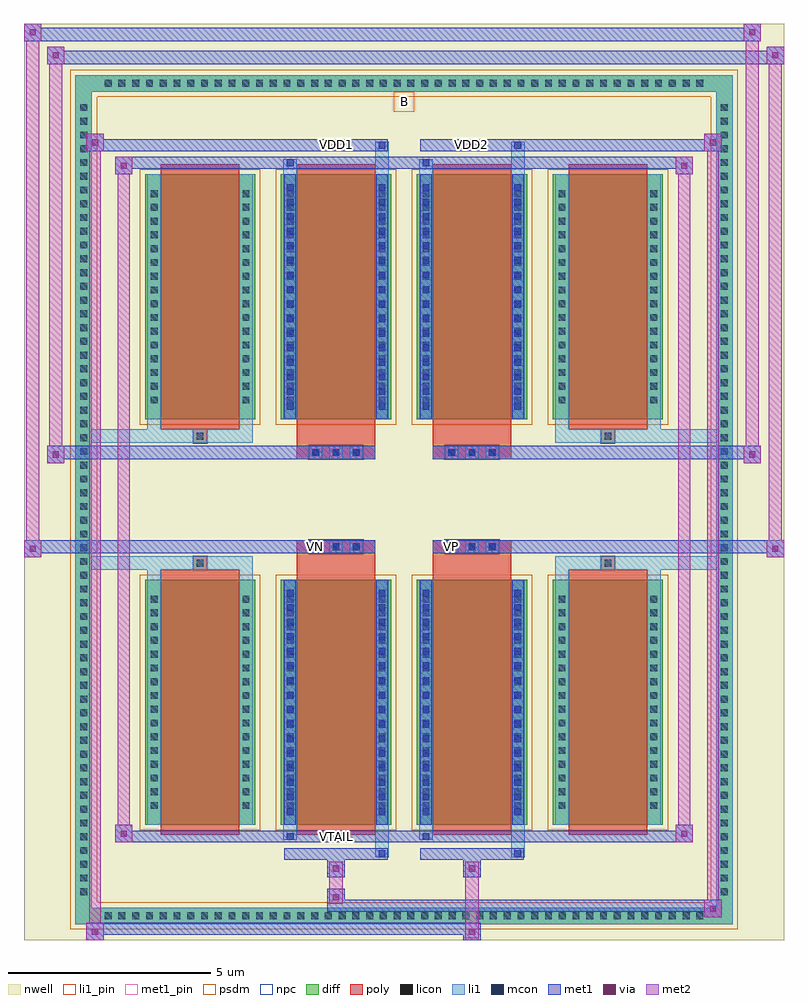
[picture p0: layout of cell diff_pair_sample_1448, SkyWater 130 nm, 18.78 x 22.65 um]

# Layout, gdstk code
import gdstk
lib = gdstk.Library(unit=1e-6, precision=5e-09)
def R(c, l, rs):  # rectangles x0, y0, x1, y1
    for r in rs: c.add(gdstk.rectangle(r[:2], r[2:], *l))
def A(c, l, x, y, w, h, nx, ny, dx, dy):  # array of equal rectangles
    R(c, l, [(x+i*dx, y+j*dy, x+i*dx+w, y+j*dy+h) for i in range(nx) for j in range(ny)])
def P(c, l, *ps):  # polygons
    for p in ps: c.add(gdstk.Polygon(p, *l))
nwell = (64, 20)
diff = (65, 20)
poly = (66, 20)
licon = (66, 44)
li1_pin = (67, 16)
li1 = (67, 20)
mcon = (67, 44)
met1_pin = (68, 16)
met1 = (68, 20)
via = (68, 44)
met2 = (69, 20)
psdm = (94, 20)
npc = (95, 20)

diff_pair_sample_1448 = lib.new_cell('diff_pair_sample_1448')
R(diff_pair_sample_1448, nwell, [(-9.39,-10.89,9.39,11.76), (-6.71,-9.08,-0.01,-0.8), (0.01,-9.08,6.71,-0.8), (-6.71,0.8,-0.01,9.08), (0.01,0.8,6.71,9.08)])
A(diff_pair_sample_1448, diff, -7.515, -10.49, 0.41, 0.41, 44, 2, 0.34, 20.57)
A(diff_pair_sample_1448, diff, -8.12, -9.895, 0.41, 0.41, 1, 58, 0, 0.34)
A(diff_pair_sample_1448, diff, 7.71, -9.895, 0.41, 0.41, 1, 58, 0, 0.34)
A(diff_pair_sample_1448, diff, -6.4, -8.035, 2.72, 6.05, 4, 2, 3.36, 10.02)
R(diff_pair_sample_1448, diff, [(-7.515,-10.49,7.515,-10.08), (-8.12,-9.895,-7.71,9.895), (7.71,-9.895,8.12,9.895), (-7.515,10.08,7.515,10.49)])
P(diff_pair_sample_1448, diff, [(8.12,10.49),(-8.12,10.49),(-8.12,-10.08),(-7.71,-10.08),(-7.71,10.08),(7.71,10.08),(7.71,-10.08),(-7.71,-10.08),(-8.12,-10.08),(-8.12,-10.49),(8.12,-10.49)])
A(diff_pair_sample_1448, poly, -6.01, -8.285, 1.94, 6.55, 4, 2, 3.36, 10.02)
A(diff_pair_sample_1448, poly, -2.345, -1.33, 0.33, 0.33, 3, 2, 0.5, 2.33)
A(diff_pair_sample_1448, poly, 1.015, -1.33, 0.33, 0.33, 3, 2, 0.5, 2.33)
R(diff_pair_sample_1448, poly, [(-5.205,-1.735,-4.875,-1.405), (-5.205,-1.735,-4.875,-1.405), (-2.65,-1.735,-0.71,-1.33), (0.71,-1.735,2.65,-1.33), (4.875,-1.735,5.205,-1.405), (4.875,-1.735,5.205,-1.405), (-2.65,-1.33,-0.71,-1), (0.71,-1.33,2.65,-1), (-2.65,1,-0.71,1.33), (0.71,1,2.65,1.33), (-2.65,1.33,-0.71,1.735), (0.71,1.33,2.65,1.735), (-5.205,1.405,-4.875,1.735), (-5.205,1.405,-4.875,1.735), (4.875,1.405,5.205,1.735), (4.875,1.405,5.205,1.735)])
A(diff_pair_sample_1448, licon, -7.395, -10.37, 0.17, 0.17, 44, 2, 0.34, 20.57)
A(diff_pair_sample_1448, licon, -8, -9.775, 0.17, 0.17, 1, 58, 0, 0.34)
A(diff_pair_sample_1448, licon, 7.83, -9.775, 0.17, 0.17, 1, 58, 0, 0.34)
A(diff_pair_sample_1448, licon, -6.26, -7.645, 0.17, 0.17, 1, 16, 0, 0.34)
A(diff_pair_sample_1448, licon, -3.99, -7.645, 0.17, 0.17, 1, 16, 0, 0.34)
A(diff_pair_sample_1448, licon, -2.9, -7.645, 0.17, 0.17, 1, 16, 0, 0.34)
A(diff_pair_sample_1448, licon, -0.63, -7.645, 0.17, 0.17, 1, 16, 0, 0.34)
A(diff_pair_sample_1448, licon, 0.46, -7.645, 0.17, 0.17, 1, 16, 0, 0.34)
A(diff_pair_sample_1448, licon, 2.73, -7.645, 0.17, 0.17, 1, 16, 0, 0.34)
A(diff_pair_sample_1448, licon, 3.82, -7.645, 0.17, 0.17, 1, 16, 0, 0.34)
A(diff_pair_sample_1448, licon, 6.09, -7.645, 0.17, 0.17, 1, 16, 0, 0.34)
A(diff_pair_sample_1448, licon, -2.265, -1.25, 0.17, 0.17, 3, 2, 0.5, 2.33)
A(diff_pair_sample_1448, licon, 1.095, -1.25, 0.17, 0.17, 3, 2, 0.5, 2.33)
A(diff_pair_sample_1448, licon, -6.26, 2.375, 0.17, 0.17, 1, 16, 0, 0.34)
A(diff_pair_sample_1448, licon, -3.99, 2.375, 0.17, 0.17, 1, 16, 0, 0.34)
A(diff_pair_sample_1448, licon, -2.9, 2.375, 0.17, 0.17, 1, 16, 0, 0.34)
A(diff_pair_sample_1448, licon, -0.63, 2.375, 0.17, 0.17, 1, 16, 0, 0.34)
A(diff_pair_sample_1448, licon, 0.46, 2.375, 0.17, 0.17, 1, 16, 0, 0.34)
A(diff_pair_sample_1448, licon, 2.73, 2.375, 0.17, 0.17, 1, 16, 0, 0.34)
A(diff_pair_sample_1448, licon, 3.82, 2.375, 0.17, 0.17, 1, 16, 0, 0.34)
A(diff_pair_sample_1448, licon, 6.09, 2.375, 0.17, 0.17, 1, 16, 0, 0.34)
R(diff_pair_sample_1448, licon, [(-5.125,-1.655,-4.955,-1.485), (4.955,-1.655,5.125,-1.485), (-5.125,1.485,-4.955,1.655), (4.955,1.485,5.125,1.655)])
R(diff_pair_sample_1448, li1_pin, [(-0.25,9.58,0.25,10.08)])
A(diff_pair_sample_1448, li1, -7.475, -10.45, 0.33, 0.33, 44, 2, 0.34, 20.57)
A(diff_pair_sample_1448, li1, -8.08, -9.855, 0.33, 0.33, 1, 58, 0, 0.34)
A(diff_pair_sample_1448, li1, 7.75, -9.855, 0.33, 0.33, 1, 58, 0, 0.34)
A(diff_pair_sample_1448, li1, -2.9, -7.795, 0.17, 0.17, 1, 16, 0, 0.36)
A(diff_pair_sample_1448, li1, -0.63, -7.795, 0.17, 0.17, 1, 16, 0, 0.36)
A(diff_pair_sample_1448, li1, 0.46, -7.795, 0.17, 0.17, 1, 16, 0, 0.36)
A(diff_pair_sample_1448, li1, 2.73, -7.795, 0.17, 0.17, 1, 16, 0, 0.36)
A(diff_pair_sample_1448, li1, -6.34, -7.725, 0.33, 0.33, 1, 16, 0, 0.34)
A(diff_pair_sample_1448, li1, -4.07, -7.725, 0.33, 0.33, 1, 16, 0, 0.34)
A(diff_pair_sample_1448, li1, -2.98, -7.725, 0.33, 0.33, 1, 16, 0, 0.34)
A(diff_pair_sample_1448, li1, -0.71, -7.725, 0.33, 0.33, 1, 16, 0, 0.34)
A(diff_pair_sample_1448, li1, 0.38, -7.725, 0.33, 0.33, 1, 16, 0, 0.34)
A(diff_pair_sample_1448, li1, 2.65, -7.725, 0.33, 0.33, 1, 16, 0, 0.34)
A(diff_pair_sample_1448, li1, 3.74, -7.725, 0.33, 0.33, 1, 16, 0, 0.34)
A(diff_pair_sample_1448, li1, 6.01, -7.725, 0.33, 0.33, 1, 16, 0, 0.34)
A(diff_pair_sample_1448, li1, -2.345, -1.33, 0.33, 0.33, 3, 2, 0.5, 2.33)
A(diff_pair_sample_1448, li1, 1.015, -1.33, 0.33, 0.33, 3, 2, 0.5, 2.33)
A(diff_pair_sample_1448, li1, -2.9, 2.225, 0.17, 0.17, 1, 16, 0, 0.36)
A(diff_pair_sample_1448, li1, -0.63, 2.225, 0.17, 0.17, 1, 16, 0, 0.36)
A(diff_pair_sample_1448, li1, 0.46, 2.225, 0.17, 0.17, 1, 16, 0, 0.36)
A(diff_pair_sample_1448, li1, 2.73, 2.225, 0.17, 0.17, 1, 16, 0, 0.36)
A(diff_pair_sample_1448, li1, -6.34, 2.295, 0.33, 0.33, 1, 16, 0, 0.34)
A(diff_pair_sample_1448, li1, -4.07, 2.295, 0.33, 0.33, 1, 16, 0, 0.34)
A(diff_pair_sample_1448, li1, -2.98, 2.295, 0.33, 0.33, 1, 16, 0, 0.34)
A(diff_pair_sample_1448, li1, -0.71, 2.295, 0.33, 0.33, 1, 16, 0, 0.34)
A(diff_pair_sample_1448, li1, 0.38, 2.295, 0.33, 0.33, 1, 16, 0, 0.34)
A(diff_pair_sample_1448, li1, 2.65, 2.295, 0.33, 0.33, 1, 16, 0, 0.34)
A(diff_pair_sample_1448, li1, 3.74, 2.295, 0.33, 0.33, 1, 16, 0, 0.34)
A(diff_pair_sample_1448, li1, 6.01, 2.295, 0.33, 0.33, 1, 16, 0, 0.34)
R(diff_pair_sample_1448, li1, [(-8.12,-10.49,-7.71,-10.08), (-8.12,-10.49,-7.71,-10.08), (-7.71,-10.49,7.71,-10.08), (7.71,-10.49,8.12,-10.08), (7.71,-10.49,8.12,-10.08), (-8.12,-10.08,-7.71,10.08), (7.71,-10.08,8.12,10.08), (-0.71,-8.84,-0.38,-8.035), (-0.63,-8.84,-0.46,-8.67), (2.65,-8.84,2.98,-8.035), (2.73,-8.84,2.9,-8.67), (-2.98,-8.41,-2.65,-8.035), (-2.9,-8.41,-2.73,-8.24), (0.38,-8.41,0.71,-8.035), (0.46,-8.41,0.63,-8.24), (-6.34,-8.035,-6.01,-1.985), (-4.07,-8.035,-3.74,-1.985), (-2.98,-8.035,-2.65,-1.985), (-0.71,-8.035,-0.38,-1.985), (0.38,-8.035,0.71,-1.985), (2.65,-8.035,2.98,-1.985), (3.74,-8.035,4.07,-1.985), (6.01,-8.035,6.34,-1.985), (-2.9,-7.795,-2.73,-2.225), (-0.63,-7.795,-0.46,-2.225), (0.46,-7.795,0.63,-2.225), (2.73,-7.795,2.9,-2.225), (-6.34,-1.985,-6.01,-1.405), (-4.07,-1.985,-3.74,-1.405), (3.74,-1.985,4.07,-1.405), (6.01,-1.985,6.34,-1.405), (-8.12,-1.735,-5.205,-1.405), (-6.34,-1.735,-5.205,-1.405), (-5.205,-1.735,-4.875,-1.405), (-4.875,-1.735,-3.74,-1.405), (3.74,-1.735,4.875,-1.405), (4.875,-1.735,5.205,-1.405), (4.875,-1.735,8.12,-1.405), (5.205,-1.735,6.34,-1.405), (-8.12,1.405,-5.205,1.735), (-6.34,1.405,-5.205,1.735), (-6.34,1.405,-6.01,1.985), (-5.205,1.405,-4.875,1.735), (-4.875,1.405,-3.74,1.735), (-4.07,1.405,-3.74,1.985), (3.74,1.405,4.875,1.735), (3.74,1.405,4.07,1.985), (4.875,1.405,5.205,1.735), (4.875,1.405,8.12,1.735), (5.205,1.405,6.34,1.735), (6.01,1.405,6.34,1.985), (-6.34,1.985,-6.01,8.035), (-4.07,1.985,-3.74,8.035), (-2.98,1.985,-2.65,8.035), (-0.71,1.985,-0.38,8.035), (0.38,1.985,0.71,8.035), (2.65,1.985,2.98,8.035), (3.74,1.985,4.07,8.035), (6.01,1.985,6.34,8.035), (-2.9,2.225,-2.73,7.795), (-0.63,2.225,-0.46,7.795), (0.46,2.225,0.63,7.795), (2.73,2.225,2.9,7.795), (-2.98,8.035,-2.65,8.41), (-0.71,8.035,-0.38,8.84), (0.38,8.035,0.71,8.41), (2.65,8.035,2.98,8.84), (-2.9,8.24,-2.73,8.41), (0.46,8.24,0.63,8.41), (-0.63,8.67,-0.46,8.84), (2.73,8.67,2.9,8.84), (-8.12,10.08,-7.71,10.49), (-8.12,10.08,-7.71,10.49), (-7.71,10.08,7.71,10.49), (7.71,10.08,8.12,10.49), (7.71,10.08,8.12,10.49)])
A(diff_pair_sample_1448, mcon, -2.9, -7.795, 0.17, 0.17, 1, 16, 0, 0.36)
A(diff_pair_sample_1448, mcon, -0.63, -7.795, 0.17, 0.17, 1, 16, 0, 0.36)
A(diff_pair_sample_1448, mcon, 0.46, -7.795, 0.17, 0.17, 1, 16, 0, 0.36)
A(diff_pair_sample_1448, mcon, 2.73, -7.795, 0.17, 0.17, 1, 16, 0, 0.36)
A(diff_pair_sample_1448, mcon, -2.265, -1.25, 0.17, 0.17, 3, 2, 0.5, 2.33)
A(diff_pair_sample_1448, mcon, 1.095, -1.25, 0.17, 0.17, 3, 2, 0.5, 2.33)
A(diff_pair_sample_1448, mcon, -2.9, 2.225, 0.17, 0.17, 1, 16, 0, 0.36)
A(diff_pair_sample_1448, mcon, -0.63, 2.225, 0.17, 0.17, 1, 16, 0, 0.36)
A(diff_pair_sample_1448, mcon, 0.46, 2.225, 0.17, 0.17, 1, 16, 0, 0.36)
A(diff_pair_sample_1448, mcon, 2.73, 2.225, 0.17, 0.17, 1, 16, 0, 0.36)
R(diff_pair_sample_1448, mcon, [(-0.63,-8.84,-0.46,-8.67), (2.73,-8.84,2.9,-8.67), (-2.9,-8.41,-2.73,-8.24), (0.46,-8.41,0.63,-8.24), (-2.9,8.24,-2.73,8.41), (0.46,8.24,0.63,8.41), (-0.63,8.67,-0.46,8.84), (2.73,8.67,2.9,8.84)])
R(diff_pair_sample_1448, met1_pin, [(-1.815,-8.45,-1.545,-8.18), (-2.315,-1.29,-2.045,-1.02), (1.045,-1.29,1.315,-1.02), (-1.815,8.63,-1.545,8.9), (1.545,8.63,1.815,8.9)])
A(diff_pair_sample_1448, met1, -2.96, -7.855, 0.29, 0.29, 1, 16, 0, 0.36)
A(diff_pair_sample_1448, met1, -0.69, -7.855, 0.29, 0.29, 1, 16, 0, 0.36)
A(diff_pair_sample_1448, met1, 0.4, -7.855, 0.29, 0.29, 1, 16, 0, 0.36)
A(diff_pair_sample_1448, met1, 2.67, -7.855, 0.29, 0.29, 1, 16, 0, 0.36)
A(diff_pair_sample_1448, met1, -2.325, -1.31, 0.29, 0.29, 3, 2, 0.5, 2.33)
A(diff_pair_sample_1448, met1, 1.035, -1.31, 0.29, 0.29, 3, 2, 0.5, 2.33)
A(diff_pair_sample_1448, met1, -2.96, 2.165, 0.29, 0.29, 1, 16, 0, 0.36)
A(diff_pair_sample_1448, met1, -0.69, 2.165, 0.29, 0.29, 1, 16, 0, 0.36)
A(diff_pair_sample_1448, met1, 0.4, 2.165, 0.29, 0.29, 1, 16, 0, 0.36)
A(diff_pair_sample_1448, met1, 2.67, 2.165, 0.29, 0.29, 1, 16, 0, 0.36)
R(diff_pair_sample_1448, met1, [(-7.85,-10.89,-7.42,-10.46), (1.465,-10.89,1.895,-10.46), (-7.85,-10.75,1.895,-10.46), (7.42,-10.32,7.85,-9.89), (-1.895,-10.18,7.85,-9.89), (-1.895,-10.04,-1.465,-9.61), (-1.895,-9.33,-1.465,-8.9), (1.465,-9.33,1.895,-8.9), (-2.96,-8.9,-0.4,-8.61), (-0.69,-8.9,-0.4,-8.61), (0.4,-8.9,2.96,-8.61), (2.67,-8.9,2.96,-8.61), (-7.14,-8.47,-6.71,-8.04), (-7.14,-8.47,-2.96,-8.18), (-2.96,-8.47,-2.67,-8.18), (-2.96,-8.47,-0.4,-8.18), (-0.4,-8.47,0.4,-8.18), (0.4,-8.47,0.69,-8.18), (0.4,-8.47,2.96,-8.18), (2.96,-8.47,7.14,-8.18), (6.71,-8.47,7.14,-8.04), (-2.96,-8.035,-2.67,-1.985), (-0.69,-8.035,-0.4,-1.985), (0.4,-8.035,0.69,-1.985), (2.67,-8.035,2.96,-1.985), (-9.39,-1.43,-8.96,-1), (8.96,-1.43,9.39,-1), (-9.39,-1.33,-0.71,-1), (-2.65,-1.33,-0.71,-1), (0.71,-1.33,2.65,-1), (0.71,-1.33,9.39,-1), (-8.82,0.9,-8.39,1.33), (8.39,0.9,8.82,1.33), (-8.82,1,-2.65,1.33), (-2.65,1,-0.71,1.33), (0.71,1,2.65,1.33), (2.65,1,8.82,1.33), (-2.96,1.985,-2.67,8.035), (-0.69,1.985,-0.4,8.035), (0.4,1.985,0.69,8.035), (2.67,1.985,2.96,8.035), (-7.14,8.04,-6.71,8.47), (6.71,8.04,7.14,8.47), (-7.14,8.18,-2.96,8.47), (-2.96,8.18,-2.67,8.47), (-2.96,8.18,-0.4,8.47), (-0.4,8.18,0.4,8.47), (0.4,8.18,0.69,8.47), (0.4,8.18,2.96,8.47), (2.96,8.18,7.14,8.47), (-7.85,8.61,-7.42,9.04), (-7.85,8.61,-2.96,8.9), (-2.96,8.61,-0.4,8.9), (-0.69,8.61,-0.4,8.9), (0.4,8.61,2.96,8.9), (2.67,8.61,2.96,8.9), (2.96,8.61,7.85,8.9), (7.42,8.61,7.85,9.04), (-8.82,10.76,-8.39,11.19), (-8.82,10.76,-6.71,11.09), (-6.71,10.76,6.71,11.09), (6.71,10.76,9.39,11.09), (8.96,10.76,9.39,11.19), (-9.39,11.33,-8.96,11.76), (-9.39,11.33,-6.71,11.66), (-6.71,11.33,6.71,11.66), (6.71,11.33,8.82,11.66), (8.39,11.33,8.82,11.76)])
R(diff_pair_sample_1448, via, [(-7.71,-10.75,-7.56,-10.6), (1.605,-10.75,1.755,-10.6), (7.56,-10.18,7.71,-10.03), (-1.755,-9.9,-1.605,-9.75), (-1.755,-9.19,-1.605,-9.04), (1.605,-9.19,1.755,-9.04), (-7,-8.33,-6.85,-8.18), (6.85,-8.33,7,-8.18), (-9.25,-1.29,-9.1,-1.14), (9.1,-1.29,9.25,-1.14), (-8.68,1.04,-8.53,1.19), (8.53,1.04,8.68,1.19), (-7,8.18,-6.85,8.33), (6.85,8.18,7,8.33), (-7.71,8.75,-7.56,8.9), (7.56,8.75,7.71,8.9), (-8.68,10.9,-8.53,11.05), (9.1,10.9,9.25,11.05), (-9.25,11.47,-9.1,11.62), (8.53,11.47,8.68,11.62)])
R(diff_pair_sample_1448, met2, [(-7.85,-10.89,-7.42,-10.46), (-7.78,-10.89,-7.49,9.04), (-7.49,-10.89,-7.42,-10.46), (-7.8,-10.84,-7.47,-10.51), (1.515,-10.84,1.845,-10.51), (1.515,-10.51,1.845,-9.28), (7.42,-10.32,7.85,-9.89), (7.49,-10.32,7.78,9.04), (7.78,-10.32,7.85,-9.89), (7.47,-10.27,7.8,-9.94), (-1.845,-9.99,-1.515,-9.66), (-1.845,-9.66,-1.515,-9.28), (-1.845,-9.28,-1.515,-8.95), (1.515,-9.28,1.845,-8.95), (-7.14,-8.47,-6.71,-8.04), (-7.07,-8.47,-6.78,8.47), (-6.78,-8.47,-6.71,-8.04), (6.71,-8.47,7.14,-8.04), (6.78,-8.47,7.07,8.47), (7.07,-8.47,7.14,-8.04), (-7.09,-8.42,-6.76,-8.09), (6.76,-8.42,7.09,-8.09), (-9.39,-1.43,-8.96,-1), (-9.34,-1.43,-9.01,11.76), (-9.01,-1.43,-8.96,-1), (8.96,-1.43,9.39,-1), (9.01,-1.43,9.34,11.19), (9.34,-1.43,9.39,-1), (-9.34,-1.38,-9.01,-1.05), (9.01,-1.38,9.34,-1.05), (-8.82,0.9,-8.39,1.33), (-8.77,0.9,-8.44,11.19), (-8.44,0.9,-8.39,1.33), (8.39,0.9,8.82,1.33), (8.44,0.9,8.77,11.76), (8.77,0.9,8.82,1.33), (-8.77,0.95,-8.44,1.28), (8.44,0.95,8.77,1.28), (-7.14,8.04,-6.71,8.47), (-6.78,8.04,-6.71,8.47), (6.71,8.04,7.14,8.47), (7.07,8.04,7.14,8.47), (-7.09,8.09,-6.76,8.42), (6.76,8.09,7.09,8.42), (-7.85,8.61,-7.42,9.04), (-7.49,8.61,-7.42,9.04), (7.42,8.61,7.85,9.04), (7.78,8.61,7.85,9.04), (-7.8,8.66,-7.47,8.99), (7.47,8.66,7.8,8.99), (-8.82,10.76,-8.39,11.19), (-8.44,10.76,-8.39,11.19), (8.96,10.76,9.39,11.19), (9.34,10.76,9.39,11.19), (-8.77,10.81,-8.44,11.14), (9.01,10.81,9.34,11.14), (-9.39,11.33,-8.96,11.76), (-9.01,11.33,-8.96,11.76), (8.39,11.33,8.82,11.76), (8.77,11.33,8.82,11.76), (-9.34,11.38,-9.01,11.71), (8.44,11.38,8.77,11.71)])
A(diff_pair_sample_1448, psdm, -6.53, -8.165, 2.98, 6.31, 4, 2, 3.36, 10.02)
P(diff_pair_sample_1448, psdm, [(8.25,10.62),(-8.25,10.62),(-8.25,-9.95),(-7.58,-9.95),(-7.58,9.95),(7.58,9.95),(7.58,-9.95),(-7.58,-9.95),(-8.25,-9.95),(-8.25,-10.62),(8.25,-10.62)])
A(diff_pair_sample_1448, npc, -2.365, -1.35, 0.37, 0.37, 3, 2, 0.5, 2.33)
A(diff_pair_sample_1448, npc, 0.995, -1.35, 0.37, 0.37, 3, 2, 0.5, 2.33)
R(diff_pair_sample_1448, npc, [(-5.225,-1.755,-4.855,-1.385), (4.855,-1.755,5.225,-1.385), (-2.365,-1.35,-1.495,-0.98), (-2.365,-1.35,-1.495,-0.98), (-1.865,-1.35,-0.995,-0.98), (-1.865,-1.35,-0.995,-0.98), (0.995,-1.35,1.865,-0.98), (0.995,-1.35,1.865,-0.98), (1.495,-1.35,2.365,-0.98), (1.495,-1.35,2.365,-0.98), (-2.365,0.98,-1.495,1.35), (-2.365,0.98,-1.495,1.35), (-1.865,0.98,-0.995,1.35), (-1.865,0.98,-0.995,1.35), (0.995,0.98,1.865,1.35), (0.995,0.98,1.865,1.35), (1.495,0.98,2.365,1.35), (1.495,0.98,2.365,1.35), (-5.225,1.385,-4.855,1.755), (4.855,1.385,5.225,1.755)])
diff_pair_sample_1448.add(gdstk.Label('VTAIL', (-1.68,-8.315), layer=68, texttype=5))
diff_pair_sample_1448.add(gdstk.Label('VN', (-2.18,-1.155), layer=68, texttype=5))
diff_pair_sample_1448.add(gdstk.Label('VP', (1.18,-1.155), layer=68, texttype=5))
diff_pair_sample_1448.add(gdstk.Label('B', (0,9.83), layer=67, texttype=5))
diff_pair_sample_1448.add(gdstk.Label('VDD2', (1.68,8.765), layer=68, texttype=5))
diff_pair_sample_1448.add(gdstk.Label('VDD1', (-1.68,8.765), layer=68, texttype=5))

lib.write_gds('diff_pair_sample_1448.gds')
